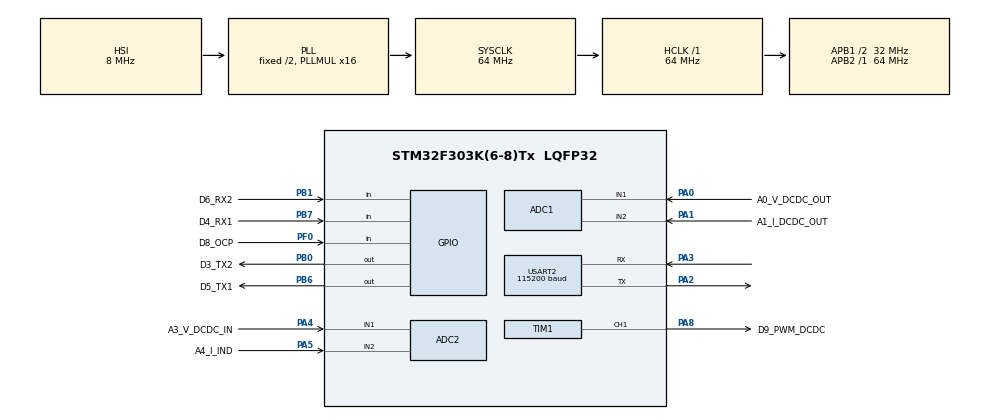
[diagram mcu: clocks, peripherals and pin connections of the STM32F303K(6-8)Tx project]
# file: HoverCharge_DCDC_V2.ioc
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ADC1.Channel-0\#ChannelRegularConversion=ADC_CHANNEL_1
ADC1.Channel-1\#ChannelRegularConversion=ADC_CHANNEL_1
ADC1.ClockPrescaler=ADC_CLOCK_SYNC_PCLK_DIV1
ADC1.DMAContinuousRequests=ENABLE
ADC1.ExternalTrigConv=ADC_EXTERNALTRIGCONV_T1_TRGO
ADC1.NbrOfConversion=2
ADC1.NbrOfConversionFlag=1
ADC1.Offset-0\#ChannelRegularConversion=0
ADC1.Offset-1\#ChannelRegularConversion=0
ADC1.OffsetNumber-0\#ChannelRegularConversion=ADC_OFFSET_NONE
ADC1.OffsetNumber-1\#ChannelRegularConversion=ADC_OFFSET_NONE
ADC1.Rank-0\#ChannelRegularConversion=1
ADC1.Rank-1\#ChannelRegularConversion=2
ADC1.SamplingTime-0\#ChannelRegularConversion=ADC_SAMPLETIME_1CYCLE_5
ADC1.SamplingTime-1\#ChannelRegularConversion=ADC_SAMPLETIME_1CYCLE_5
ADC1.SamplingTimeOPAMP-1\#ChannelRegularConversion=ADC_SAMPLETIME_61CYCLES_5
ADC1.SubFamily=STM32F303x8
ADC1.master=1
ADC2.Channel-0\#ChannelRegularConversion=ADC_CHANNEL_2
ADC2.Channel-1\#ChannelRegularConversion=ADC_CHANNEL_1
ADC2.ClockPrescaler=ADC_CLOCK_SYNC_PCLK_DIV1
ADC2.DMAContinuousRequests=ENABLE
ADC2.ExternalTrigConv=ADC_EXTERNALTRIGCONV_T1_TRGO
ADC2.NbrOfConversion=2
ADC2.NbrOfConversionFlag=1
ADC2.Offset-0\#ChannelRegularConversion=0
ADC2.Offset-1\#ChannelRegularConversion=0
ADC2.OffsetNumber-0\#ChannelRegularConversion=ADC_OFFSET_NONE
ADC2.OffsetNumber-1\#ChannelRegularConversion=ADC_OFFSET_NONE
ADC2.Rank-0\#ChannelRegularConversion=1
ADC2.Rank-1\#ChannelRegularConversion=2
ADC2.SamplingTime-0\#ChannelRegularConversion=ADC_SAMPLETIME_1CYCLE_5
ADC2.SamplingTime-1\#ChannelRegularConversion=ADC_SAMPLETIME_1CYCLE_5
ADC2.SamplingTimeOPAMP-1\#ChannelRegularConversion=ADC_SAMPLETIME_61CYCLES_5
ADC2.SubFamily=STM32F303x8
Dma.ADC1.0.Direction=DMA_PERIPH_TO_MEMORY
Dma.ADC1.0.Instance=DMA1_Channel1
Dma.ADC1.0.MemDataAlignment=DMA_MDATAALIGN_WORD
Dma.ADC1.0.MemInc=DMA_MINC_ENABLE
Dma.ADC1.0.Mode=DMA_CIRCULAR
Dma.ADC1.0.PeriphDataAlignment=DMA_PDATAALIGN_WORD
Dma.ADC1.0.PeriphInc=DMA_PINC_DISABLE
Dma.ADC1.0.Priority=DMA_PRIORITY_LOW
Dma.ADC2.1.Direction=DMA_PERIPH_TO_MEMORY
Dma.ADC2.1.Instance=DMA1_Channel2
Dma.ADC2.1.MemDataAlignment=DMA_MDATAALIGN_WORD
Dma.ADC2.1.MemInc=DMA_MINC_ENABLE
Dma.ADC2.1.Mode=DMA_CIRCULAR
Dma.ADC2.1.PeriphDataAlignment=DMA_PDATAALIGN_WORD
Dma.ADC2.1.PeriphInc=DMA_PINC_DISABLE
Dma.ADC2.1.Priority=DMA_PRIORITY_LOW
Dma.Request0=ADC1
Dma.Request1=ADC2
Mcu.Family=STM32F3
Mcu.Name=STM32F303K(6-8)Tx
Mcu.Package=LQFP32
NVIC.DMA1_Channel1_IRQn=true\:0\:0\:false\:false\:true\:false\:true\:true
NVIC.DMA1_Channel2_IRQn=true\:0\:0\:false\:false\:true\:false\:true\:true
NVIC.PriorityGroup=NVIC_PRIORITYGROUP_4
PA0.GPIO_Label=A0_V_DCDC_OUT
PA0.Mode=IN1-Single-Ended
PA0.Signal=ADC1_IN1
PA1.GPIO_Label=A1_I_DCDC_OUT
PA1.Mode=IN2-Single-Ended
PA1.Signal=ADC1_IN2
PA2.Mode=Asynchronous
PA2.Signal=USART2_TX
PA3.Mode=Asynchronous
PA3.Signal=USART2_RX
PA4.GPIO_Label=A3_V_DCDC_IN
PA4.Mode=IN1-Single-Ended
PA4.Signal=ADC2_IN1
PA5.GPIO_Label=A4_I_IND
PA5.Mode=IN2-Single-Ended
PA5.Signal=ADC2_IN2
PA8.GPIO_Label=D9_PWM_DCDC
PA8.Signal=S_TIM1_CH1
PB0.GPIO_Label=D3_TX2
PB0.Signal=GPIO_Output
PB1.GPIO_Label=D6_RX2
PB1.Signal=GPIO_Input
PB6.GPIO_Label=D5_TX1
PB6.Signal=GPIO_Output
PB7.GPIO_Label=D4_RX1
PB7.Signal=GPIO_Input
PF0\ /\ OSC_IN.GPIO_Label=D8_OCP
PF0\ /\ OSC_IN.Signal=GPIO_Input
ProjectManager.HeapSize=0x200
ProjectManager.StackSize=0x400
ProjectManager.TargetToolchain=STM32CubeIDE
RCC.AHBFreq_Value=64000000
RCC.APB1CLKDivider=RCC_HCLK_DIV2
RCC.APB1Freq_Value=32000000
RCC.APB1TimFreq_Value=64000000
RCC.APB2Freq_Value=64000000
RCC.APB2TimFreq_Value=64000000
RCC.CortexFreq_Value=64000000
RCC.HCLKFreq_Value=64000000
RCC.HSE_VALUE=8000000
RCC.HSI_VALUE=8000000
RCC.PLLMUL=RCC_PLL_MUL16
RCC.SYSCLKFreq_VALUE=64000000
RCC.SYSCLKSourceVirtual=RCC_SYSCLKSOURCE_PLLCLK
SH.S_TIM1_CH1.0=TIM1_CH1,PWM Generation1 CH1
TIM1.Channel-PWM\ Generation1\ CH1=TIM_CHANNEL_1
TIM1.CounterMode=TIM_COUNTERMODE_CENTERALIGNED1
TIM1.RepetitionCounter=1
TIM1.TIM_MasterOutputTrigger=TIM_TRGO_UPDATE
USART2.BaudRate=115200
USART2.VirtualMode-Asynchronous=VM_ASYNC
VP_TIM1_VS_ClockSourceINT.Mode=Internal
board=custom

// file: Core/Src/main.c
/* USER CODE BEGIN Header */
/**
  ******************************************************************************
  * @file           : main.c
  * @brief          : Main program body
  ******************************************************************************
  * @attention
  *
  * Copyright (c) 2024 STMicroelectronics.
  * All rights reserved.
  *
  * This software is licensed under terms that can be found in the LICENSE file
  * in the root directory of this software component.
  * If no LICENSE file comes with this software, it is provided AS-IS.
  *
  ******************************************************************************
  */
/* USER CODE END Header */
#include "main.h"

/* USER CODE BEGIN Includes */
#include "stdlib.h"
#include "stdio.h"
#include "string.h"
#include <stdbool.h>
/* USER CODE END Includes */

/* USER CODE BEGIN PD */
#define EVER                 		true
#define MILISECONDS_IN_A_SECOND 	1000

#define INITIAL_DUTY_CYCLE   		50.0f
#define DUTY_CYCLE_STEP_SIZE 		2.0f

#define DUTY_CYCLE_MAX 		90
#define DUTY_CYCLE_MIN 		20

#define HAL_ERROR			 		1
#define OVERCURRENT_ERROR 	 	    2
/* USER CODE END PD */

ADC_HandleTypeDef hadc1;
ADC_HandleTypeDef hadc2;
DMA_HandleTypeDef hdma_adc1;
DMA_HandleTypeDef hdma_adc2;

TIM_HandleTypeDef htim1;

UART_HandleTypeDef huart2;

/* USER CODE BEGIN PV */

/** @brief Represents the step size of the duty cycle that boost converter is changing with. */
float stepSize = DUTY_CYCLE_STEP_SIZE;

//UART
uint8_t TxStartMessage[] = "\r\n***** Group 1 - HoverCharge - 5XWF0 *****\r\n";

//ADC
uint32_t ADC1_Buff[2];
uint32_t ADC2_Buff[2];

uint32_t adc_val_1;
float V_DCDC_OUT=0.0f;
float Factor_ADC_V_OUT = 21.5f* (3.3f/4095.0f);

uint32_t adc_val_2;
float I_DCDC_OUT=0.0f;
float Factor_ADC_I_OUT = 1.5f * (3.3f/4095.0f);

uint32_t adc_val_3;
float V_DCDC_IN=0.0f;
float Factor_ADC_V_IN = (3.3f/4095.0f);

uint32_t adc_val_4;
float I_IND=0.0f;
float Factor_ADC_I_IND =  (3.3f/4095.0f);

//PWM
uint32_t PWM_Freq = 43000;
float PWM_DutyC = 70;
int32_t PWM_Period;
int32_t PWM_PulseWidth;
float power = 0;

/** @brief Represents the current duty cycle that boost converter is running on. */
float currentDutyCycle = INITIAL_DUTY_CYCLE;
float currentPower = 0.0f;

/* USER CODE END PV */

void SystemClock_Config(void);
static void MX_GPIO_Init(void);
static void MX_DMA_Init(void);
static void MX_TIM1_Init(void);
static void MX_USART2_UART_Init(void);
static void MX_ADC1_Init(void);
static void MX_ADC2_Init(void);
static void maintain_MPPT();

/* USER CODE BEGIN 0 */
#ifdef __GNUC__
	#define PUTCHAR_PROTOTYPE int __io_putchar(int ch)
#else
	#define PUTCHAR_PROTOTYPE int fputc(int ch, FILE *f)
#endif

PUTCHAR_PROTOTYPE
{
	HAL_UART_Transmit(&huart2, (uint8_t *)&ch, 1, 0xFFF);

	return ch;
}
/* USER CODE END 0 */

int main(void)
{

  /* MCU Configuration--------------------------------------------------------*/

  /* Reset of all peripherals, Initializes the Flash interface and the Systick. */
  HAL_Init();

  /* Configure the system clock */
  SystemClock_Config();

  /* Initialize all configured peripherals */
  MX_GPIO_Init();
  MX_DMA_Init();
  MX_TIM1_Init();
  MX_USART2_UART_Init();
  MX_ADC1_Init();
  MX_ADC2_Init();
  /* USER CODE BEGIN 2 */
  printf("%s", TxStartMessage);

      PWM_Period = 64000000/(2*PWM_Freq)-1;
      PWM_PulseWidth = (int)((PWM_Period*PWM_DutyC)/100);

      __HAL_TIM_SET_AUTORELOAD(&htim1, PWM_Period);					//Timer 1 config

       __HAL_TIM_SET_COMPARE(&htim1, TIM_CHANNEL_1, PWM_PulseWidth);	//Tim1 Channel 1 config
       HAL_TIM_PWM_Start(&htim1, TIM_CHANNEL_1);

      HAL_ADCEx_Calibration_Start(&hadc1, ADC_SINGLE_ENDED);				//ADC1 config
      HAL_ADC_Start_DMA(&hadc1, (uint32_t*)ADC1_Buff, 2);

      HAL_ADCEx_Calibration_Start(&hadc2, ADC_SINGLE_ENDED);				//ADC2 config
      HAL_ADC_Start_DMA(&hadc2, (uint32_t*)ADC2_Buff, 2);
  /* USER CODE END 2 */

  /* Infinite loop */
  /* USER CODE BEGIN WHILE */
  while (1)
  {

	 // PWM_DutyC = V_DCDC_OUT*111.11f;

	  	 // detect_Load();
	  	  //maintain_MPPT();
	  	  power = V_DCDC_OUT * I_DCDC_OUT;

	  	 // printf("\r\n Power: %.2f W | V_DCDC_IN: %.2f V |  V_DCDC_OUT: %.2f V | I_IND: %.2f A  |  I_DCDC_OUT: %.2f A  |  Duty Cycle: %.2f", power,V_DCDC_IN, V_DCDC_OUT, I_IND,I_DCDC_OUT, PWM_DutyC);
	  	  HAL_Delay(1);
    /* USER CODE END WHILE */

  }
}

void SystemClock_Config(void)
{
  RCC_OscInitTypeDef RCC_OscInitStruct = {0};
  RCC_ClkInitTypeDef RCC_ClkInitStruct = {0};
  RCC_PeriphCLKInitTypeDef PeriphClkInit = {0};

  /** Initializes the RCC Oscillators according to the specified parameters
  * in the RCC_OscInitTypeDef structure.
  */
  RCC_OscInitStruct.OscillatorType = RCC_OSCILLATORTYPE_HSI;
  RCC_OscInitStruct.HSIState = RCC_HSI_ON;
  RCC_OscInitStruct.HSICalibrationValue = RCC_HSICALIBRATION_DEFAULT;
  RCC_OscInitStruct.PLL.PLLState = RCC_PLL_ON;
  RCC_OscInitStruct.PLL.PLLSource = RCC_PLLSOURCE_HSI;
  RCC_OscInitStruct.PLL.PLLMUL = RCC_PLL_MUL16;
  if (HAL_RCC_OscConfig(&RCC_OscInitStruct) != HAL_OK)
  {
    Error_Handler();
  }

  /** Initializes the CPU, AHB and APB buses clocks
  */
  RCC_ClkInitStruct.ClockType = RCC_CLOCKTYPE_HCLK|RCC_CLOCKTYPE_SYSCLK
                              |RCC_CLOCKTYPE_PCLK1|RCC_CLOCKTYPE_PCLK2;
  RCC_ClkInitStruct.SYSCLKSource = RCC_SYSCLKSOURCE_PLLCLK;
  RCC_ClkInitStruct.AHBCLKDivider = RCC_SYSCLK_DIV1;
  RCC_ClkInitStruct.APB1CLKDivider = RCC_HCLK_DIV2;
  RCC_ClkInitStruct.APB2CLKDivider = RCC_HCLK_DIV1;

  if (HAL_RCC_ClockConfig(&RCC_ClkInitStruct, FLASH_LATENCY_2) != HAL_OK)
  {
    Error_Handler();
  }
  PeriphClkInit.PeriphClockSelection = RCC_PERIPHCLK_TIM1;
  PeriphClkInit.Tim1ClockSelection = RCC_TIM1CLK_HCLK;
  if (HAL_RCCEx_PeriphCLKConfig(&PeriphClkInit) != HAL_OK)
  {
    Error_Handler();
  }
}

static void MX_ADC1_Init(void)
{

  ADC_MultiModeTypeDef multimode = {0};
  ADC_ChannelConfTypeDef sConfig = {0};

  /** Common config
  */
  hadc1.Instance = ADC1;
  hadc1.Init.ClockPrescaler = ADC_CLOCK_SYNC_PCLK_DIV1;
  hadc1.Init.Resolution = ADC_RESOLUTION_12B;
  hadc1.Init.ScanConvMode = ADC_SCAN_ENABLE;
  hadc1.Init.ContinuousConvMode = DISABLE;
  hadc1.Init.DiscontinuousConvMode = DISABLE;
  hadc1.Init.ExternalTrigConvEdge = ADC_EXTERNALTRIGCONVEDGE_RISING;
  hadc1.Init.ExternalTrigConv = ADC_EXTERNALTRIGCONV_T1_TRGO;
  hadc1.Init.DataAlign = ADC_DATAALIGN_RIGHT;
  hadc1.Init.NbrOfConversion = 2;
  hadc1.Init.DMAContinuousRequests = ENABLE;
  hadc1.Init.EOCSelection = ADC_EOC_SINGLE_CONV;
  hadc1.Init.LowPowerAutoWait = DISABLE;
  hadc1.Init.Overrun = ADC_OVR_DATA_OVERWRITTEN;
  if (HAL_ADC_Init(&hadc1) != HAL_OK)
  {
    Error_Handler();
  }

  /** Configure the ADC multi-mode
  */
  multimode.Mode = ADC_MODE_INDEPENDENT;
  if (HAL_ADCEx_MultiModeConfigChannel(&hadc1, &multimode) != HAL_OK)
  {
    Error_Handler();
  }

  /** Configure Regular Channel
  */
  sConfig.Channel = ADC_CHANNEL_1;
  sConfig.Rank = ADC_REGULAR_RANK_1;
  sConfig.SingleDiff = ADC_SINGLE_ENDED;
  sConfig.SamplingTime = ADC_SAMPLETIME_1CYCLE_5;
  sConfig.OffsetNumber = ADC_OFFSET_NONE;
  sConfig.Offset = 0;
  if (HAL_ADC_ConfigChannel(&hadc1, &sConfig) != HAL_OK)
  {
    Error_Handler();
  }

  /** Configure Regular Channel
  */
  sConfig.Rank = ADC_REGULAR_RANK_2;
  if (HAL_ADC_ConfigChannel(&hadc1, &sConfig) != HAL_OK)
  {
    Error_Handler();
  }

}

static void MX_ADC2_Init(void)
{

  ADC_ChannelConfTypeDef sConfig = {0};

  /** Common config
  */
  hadc2.Instance = ADC2;
  hadc2.Init.ClockPrescaler = ADC_CLOCK_SYNC_PCLK_DIV1;
  hadc2.Init.Resolution = ADC_RESOLUTION_12B;
  hadc2.Init.ScanConvMode = ADC_SCAN_ENABLE;
  hadc2.Init.ContinuousConvMode = DISABLE;
  hadc2.Init.DiscontinuousConvMode = DISABLE;
  hadc2.Init.ExternalTrigConvEdge = ADC_EXTERNALTRIGCONVEDGE_RISING;
  hadc2.Init.ExternalTrigConv = ADC_EXTERNALTRIGCONV_T1_TRGO;
  hadc2.Init.DataAlign = ADC_DATAALIGN_RIGHT;
  hadc2.Init.NbrOfConversion = 2;
  hadc2.Init.DMAContinuousRequests = ENABLE;
  hadc2.Init.EOCSelection = ADC_EOC_SINGLE_CONV;
  hadc2.Init.LowPowerAutoWait = DISABLE;
  hadc2.Init.Overrun = ADC_OVR_DATA_OVERWRITTEN;
  if (HAL_ADC_Init(&hadc2) != HAL_OK)
  {
    Error_Handler();
  }

  /** Configure Regular Channel
  */
  sConfig.Channel = ADC_CHANNEL_2;
  sConfig.Rank = ADC_REGULAR_RANK_1;
  sConfig.SingleDiff = ADC_SINGLE_ENDED;
  sConfig.SamplingTime = ADC_SAMPLETIME_1CYCLE_5;
  sConfig.OffsetNumber = ADC_OFFSET_NONE;
  sConfig.Offset = 0;
  if (HAL_ADC_ConfigChannel(&hadc2, &sConfig) != HAL_OK)
  {
    Error_Handler();
  }

  /** Configure Regular Channel
  */
  sConfig.Channel = ADC_CHANNEL_1;
  sConfig.Rank = ADC_REGULAR_RANK_2;
  if (HAL_ADC_ConfigChannel(&hadc2, &sConfig) != HAL_OK)
  {
    Error_Handler();
  }

}

static void MX_TIM1_Init(void)
{

  TIM_ClockConfigTypeDef sClockSourceConfig = {0};
  TIM_MasterConfigTypeDef sMasterConfig = {0};
  TIM_OC_InitTypeDef sConfigOC = {0};
  TIM_BreakDeadTimeConfigTypeDef sBreakDeadTimeConfig = {0};

  htim1.Instance = TIM1;
  htim1.Init.Prescaler = 0;
  htim1.Init.CounterMode = TIM_COUNTERMODE_CENTERALIGNED1;
  htim1.Init.Period = 65535;
  htim1.Init.ClockDivision = TIM_CLOCKDIVISION_DIV1;
  htim1.Init.RepetitionCounter = 1;
  htim1.Init.AutoReloadPreload = TIM_AUTORELOAD_PRELOAD_DISABLE;
  if (HAL_TIM_Base_Init(&htim1) != HAL_OK)
  {
    Error_Handler();
  }
  sClockSourceConfig.ClockSource = TIM_CLOCKSOURCE_INTERNAL;
  if (HAL_TIM_ConfigClockSource(&htim1, &sClockSourceConfig) != HAL_OK)
  {
    Error_Handler();
  }
  if (HAL_TIM_PWM_Init(&htim1) != HAL_OK)
  {
    Error_Handler();
  }
  sMasterConfig.MasterOutputTrigger = TIM_TRGO_UPDATE;
  sMasterConfig.MasterOutputTrigger2 = TIM_TRGO2_RESET;
  sMasterConfig.MasterSlaveMode = TIM_MASTERSLAVEMODE_DISABLE;
  if (HAL_TIMEx_MasterConfigSynchronization(&htim1, &sMasterConfig) != HAL_OK)
  {
    Error_Handler();
  }
  sConfigOC.OCMode = TIM_OCMODE_PWM1;
  sConfigOC.Pulse = 0;
  sConfigOC.OCPolarity = TIM_OCPOLARITY_HIGH;
  sConfigOC.OCNPolarity = TIM_OCNPOLARITY_HIGH;
  sConfigOC.OCFastMode = TIM_OCFAST_DISABLE;
  sConfigOC.OCIdleState = TIM_OCIDLESTATE_RESET;
  sConfigOC.OCNIdleState = TIM_OCNIDLESTATE_RESET;
  if (HAL_TIM_PWM_ConfigChannel(&htim1, &sConfigOC, TIM_CHANNEL_1) != HAL_OK)
  {
    Error_Handler();
  }
  sBreakDeadTimeConfig.OffStateRunMode = TIM_OSSR_DISABLE;
  sBreakDeadTimeConfig.OffStateIDLEMode = TIM_OSSI_DISABLE;
  sBreakDeadTimeConfig.LockLevel = TIM_LOCKLEVEL_OFF;
  sBreakDeadTimeConfig.DeadTime = 0;
  sBreakDeadTimeConfig.BreakState = TIM_BREAK_DISABLE;
  sBreakDeadTimeConfig.BreakPolarity = TIM_BREAKPOLARITY_HIGH;
  sBreakDeadTimeConfig.BreakFilter = 0;
  sBreakDeadTimeConfig.Break2State = TIM_BREAK2_DISABLE;
  sBreakDeadTimeConfig.Break2Polarity = TIM_BREAK2POLARITY_HIGH;
  sBreakDeadTimeConfig.Break2Filter = 0;
  sBreakDeadTimeConfig.AutomaticOutput = TIM_AUTOMATICOUTPUT_DISABLE;
  if (HAL_TIMEx_ConfigBreakDeadTime(&htim1, &sBreakDeadTimeConfig) != HAL_OK)
  {
    Error_Handler();
  }
  HAL_TIM_MspPostInit(&htim1);

}

static void MX_USART2_UART_Init(void)
{

  huart2.Instance = USART2;
  huart2.Init.BaudRate = 115200;
  huart2.Init.WordLength = UART_WORDLENGTH_8B;
  huart2.Init.StopBits = UART_STOPBITS_1;
  huart2.Init.Parity = UART_PARITY_NONE;
  huart2.Init.Mode = UART_MODE_TX_RX;
  huart2.Init.HwFlowCtl = UART_HWCONTROL_NONE;
  huart2.Init.OverSampling = UART_OVERSAMPLING_16;
  huart2.Init.OneBitSampling = UART_ONE_BIT_SAMPLE_DISABLE;
  huart2.AdvancedInit.AdvFeatureInit = UART_ADVFEATURE_NO_INIT;
  if (HAL_UART_Init(&huart2) != HAL_OK)
  {
    Error_Handler();
  }

}

static void MX_DMA_Init(void)
{

  /* DMA controller clock enable */
  __HAL_RCC_DMA1_CLK_ENABLE();

  /* DMA interrupt init */
  /* DMA1_Channel1_IRQn interrupt configuration */
  HAL_NVIC_SetPriority(DMA1_Channel1_IRQn, 0, 0);
  HAL_NVIC_EnableIRQ(DMA1_Channel1_IRQn);
  /* DMA1_Channel2_IRQn interrupt configuration */
  HAL_NVIC_SetPriority(DMA1_Channel2_IRQn, 0, 0);
  HAL_NVIC_EnableIRQ(DMA1_Channel2_IRQn);

}

static void MX_GPIO_Init(void)
{
  GPIO_InitTypeDef GPIO_InitStruct = {0};

  /* GPIO Ports Clock Enable */
  __HAL_RCC_GPIOF_CLK_ENABLE();
  __HAL_RCC_GPIOA_CLK_ENABLE();
  __HAL_RCC_GPIOB_CLK_ENABLE();

  /*Configure GPIO pin Output Level */
  HAL_GPIO_WritePin(GPIOB, D3_TX2_Pin|D5_TX1_Pin, GPIO_PIN_RESET);

  /*Configure GPIO pin : D8_OCP_Pin */
  GPIO_InitStruct.Pin = D8_OCP_Pin;
  GPIO_InitStruct.Mode = GPIO_MODE_INPUT;
  GPIO_InitStruct.Pull = GPIO_NOPULL;
  HAL_GPIO_Init(D8_OCP_GPIO_Port, &GPIO_InitStruct);

  /*Configure GPIO pins : D3_TX2_Pin D5_TX1_Pin */
  GPIO_InitStruct.Pin = D3_TX2_Pin|D5_TX1_Pin;
  GPIO_InitStruct.Mode = GPIO_MODE_OUTPUT_PP;
  GPIO_InitStruct.Pull = GPIO_NOPULL;
  GPIO_InitStruct.Speed = GPIO_SPEED_FREQ_LOW;
  HAL_GPIO_Init(GPIOB, &GPIO_InitStruct);

  /*Configure GPIO pins : D6_RX2_Pin D4_RX1_Pin */
  GPIO_InitStruct.Pin = D6_RX2_Pin|D4_RX1_Pin;
  GPIO_InitStruct.Mode = GPIO_MODE_INPUT;
  GPIO_InitStruct.Pull = GPIO_NOPULL;
  HAL_GPIO_Init(GPIOB, &GPIO_InitStruct);

}

/* USER CODE BEGIN 4 */

/**
 * @brief Updates the MPPT to the better duty cycle.
 */
static void maintain_MPPT() {

	float newDutyCycle = (currentDutyCycle + stepSize);
	if(newDutyCycle > DUTY_CYCLE_MAX){
		newDutyCycle = DUTY_CYCLE_MAX;
	}
	if(newDutyCycle < DUTY_CYCLE_MIN){
			newDutyCycle = DUTY_CYCLE_MIN;
		}

	currentPower = V_DCDC_OUT * I_DCDC_OUT;

	static float powerWithNewDutyCycle;
    /* Getting the new power */ {
    	PWM_PulseWidth = (int) ((PWM_Period * newDutyCycle)/100);
    	__HAL_TIM_SET_COMPARE (&htim1, TIM_CHANNEL_1, PWM_PulseWidth);
    	HAL_Delay(1000);
    	powerWithNewDutyCycle = ( V_DCDC_OUT * I_DCDC_OUT );

    }

    /* changing the duty cycle if the new one is better. */ {
    float I_DCDC_IN_CAlC = (I_DCDC_OUT/(1-(newDutyCycle/100.0f)));
    printf(" I_DCDC_IN_CALC %.2f | currentDutyCycle %.2f | currentPower %.2f | powerWithNewDutyCycle %.2f | V_DCDC_OUT %.2f | I_DCDC_OUT %.2f\r\n", I_DCDC_IN_CAlC, currentDutyCycle, currentPower, powerWithNewDutyCycle, V_DCDC_OUT, I_DCDC_OUT);

    	if((I_DCDC_IN_CAlC > 8.0f) || (V_DCDC_OUT >60.0f))   {
    		currentDutyCycle = currentDutyCycle - abs(stepSize);
    		PWM_PulseWidth = (int) ((PWM_Period * newDutyCycle)/100);
    		__HAL_TIM_SET_COMPARE (&htim1, TIM_CHANNEL_1, PWM_PulseWidth);
    		return;
    	}
    	if(newDutyCycle > DUTY_CYCLE_MAX){
    		newDutyCycle = DUTY_CYCLE_MAX;
    	}
    	if(newDutyCycle < DUTY_CYCLE_MIN){
    			newDutyCycle = DUTY_CYCLE_MIN;
    		}

    if (powerWithNewDutyCycle > (currentPower +1.0f)) {
            currentDutyCycle = newDutyCycle;
        	PWM_PulseWidth = (int) ((PWM_Period * newDutyCycle)/100);
        	__HAL_TIM_SET_COMPARE (&htim1, TIM_CHANNEL_1, PWM_PulseWidth);
        }
    }

    /* Changing direction if we were getting further away. */ {
    if (powerWithNewDutyCycle < currentPower) {
        	stepSize = -stepSize;
        }
    }

}

void HAL_ADC_ConvCpltCallback(ADC_HandleTypeDef* hadc)
{
	UNUSED(hadc);

		adc_val_1 = ADC1_Buff[0];
		V_DCDC_OUT = Factor_ADC_V_OUT * (float)adc_val_1;

		adc_val_2 = ADC1_Buff[1];
		I_DCDC_OUT = Factor_ADC_I_OUT * (float)adc_val_2;

		adc_val_3 = ADC2_Buff[0];
		V_DCDC_IN = Factor_ADC_V_IN * (float)adc_val_3;

		adc_val_4 = ADC2_Buff[1];
		I_IND = Factor_ADC_I_IND * (float)adc_val_4;

}
/* USER CODE END 4 */

void Error_Handler(void)
{
  __disable_irq();
  while (1)
  {
  }
}
